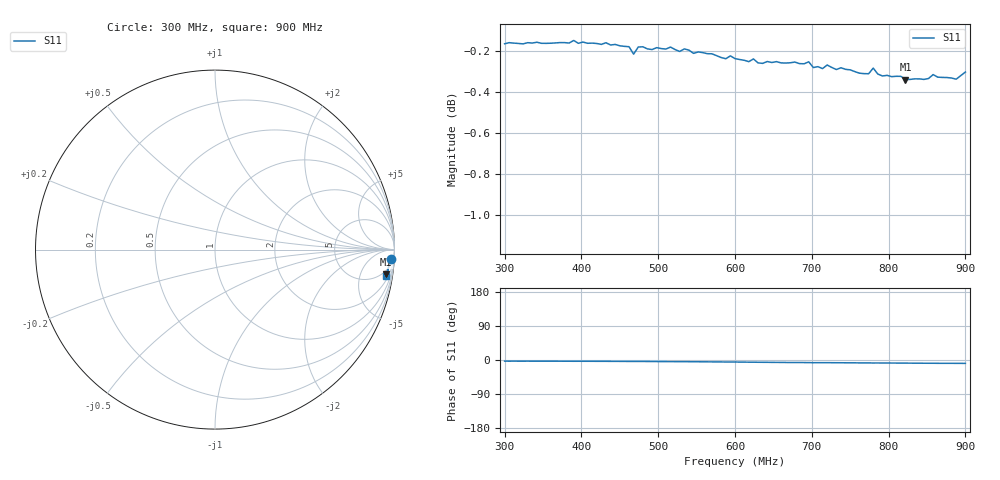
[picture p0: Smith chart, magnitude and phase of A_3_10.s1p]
# HZ S RI R 50
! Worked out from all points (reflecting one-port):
!   101 points, 300 MHz to 900 MHz, reference 50 ohm
!   lowest |S11| = -0.3 dB at 822 MHz (marker M1), VSWR 51.22, Z = 175 - j645 ohm
!   phase of S11 starts at -3 deg and turns -6 deg over the sweep
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3e8  0.9798 -0.052
3.78e8  0.9802 -0.0554
4.5e8  0.9781 -0.0619
4.62e8  0.9774 -0.0643
4.68e8  0.9734 -0.0639
4.74e8  0.9772 -0.0646
4.8e8  0.9773 -0.0653
5.16e8  0.9767 -0.0722
5.28e8  0.974 -0.0749
5.34e8  0.9754 -0.0755
6e8  0.9688 -0.091
6.48e8  0.9651 -0.1061
6.78e8  0.9646 -0.1124
6.96e8  0.9644 -0.115
7.02e8  0.9607 -0.12
7.2e8  0.9623 -0.1185
7.5e8  0.9588 -0.1251
7.74e8  0.9561 -0.1296
7.8e8  0.9588 -0.1321
7.86e8  0.9557 -0.1309
7.92e8  0.9544 -0.133
8.22e8  0.9517 -0.1382
8.28e8  0.9517 -0.1385
8.34e8  0.9516 -0.1415
8.52e8  0.9515 -0.1436
8.58e8  0.9536 -0.1439
8.88e8  0.9505 -0.1478
9e8  0.954 -0.1498
